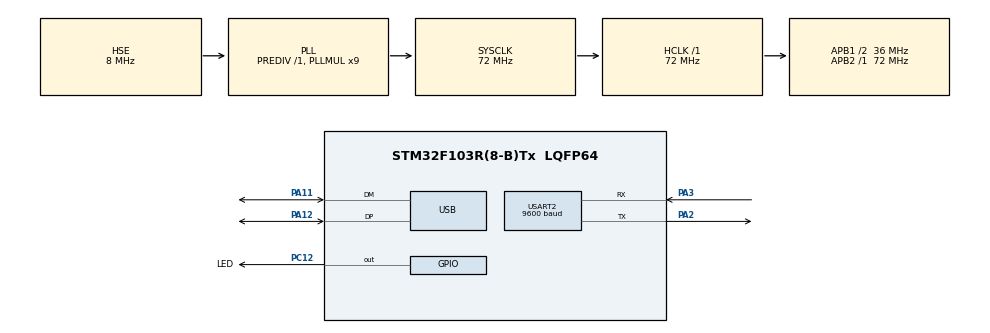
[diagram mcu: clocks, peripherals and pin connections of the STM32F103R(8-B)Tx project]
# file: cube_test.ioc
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Mcu.Family=STM32F1
Mcu.Name=STM32F103R(8-B)Tx
Mcu.Package=LQFP64
NVIC.PriorityGroup=NVIC_PRIORITYGROUP_4
NVIC.USART2_IRQn=true\:0\:0\:false\:false\:true\:true
NVIC.USB_LP_CAN1_RX0_IRQn=true\:0\:0\:false\:false\:true\:false
PA11.Mode=Device
PA11.Signal=USB_DM
PA12.Mode=Device
PA12.Signal=USB_DP
PA13.Mode=Serial_Wire
PA13.Signal=SYS_JTMS-SWDIO
PA14.Mode=Serial_Wire
PA14.Signal=SYS_JTCK-SWCLK
PA2.Mode=Asynchronous
PA2.Signal=USART2_TX
PA3.Mode=Asynchronous
PA3.Signal=USART2_RX
PC12.GPIO_Label=LED
PC12.Signal=GPIO_Output
PD0-OSC_IN.Mode=HSE-External-Oscillator
PD0-OSC_IN.Signal=RCC_OSC_IN
PD1-OSC_OUT.Mode=HSE-External-Oscillator
PD1-OSC_OUT.Signal=RCC_OSC_OUT
ProjectManager.HeapSize=0x200
ProjectManager.StackSize=0x400
ProjectManager.TargetToolchain=SW4STM32
RCC.AHBFreq_Value=72000000
RCC.APB1CLKDivider=RCC_HCLK_DIV2
RCC.APB1Freq_Value=36000000
RCC.APB1TimFreq_Value=72000000
RCC.APB2Freq_Value=72000000
RCC.APB2TimFreq_Value=72000000
RCC.HCLKFreq_Value=72000000
RCC.PLLMUL=RCC_PLL_MUL9
RCC.SYSCLKFreq_VALUE=72000000
RCC.SYSCLKSource=RCC_SYSCLKSOURCE_PLLCLK
RCC.USBFreq_Value=48000000
RCC.USBPrescaler=RCC_USBCLKSOURCE_PLL_DIV1_5
USART2.BaudRate=9600
USART2.VirtualMode=VM_ASYNC
USB_DEVICE.CLASS_NAME_FS=CDC
USB_DEVICE.VirtualMode=Cdc
USB_DEVICE.VirtualModeFS=Cdc_FS
VP_USB_DEVICE_VS_USB_DEVICE_CDC_FS.Mode=CDC_FS
board=custom

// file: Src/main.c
/**
  ******************************************************************************
  * @file           : main.c
  * @brief          : Main program body
  ******************************************************************************
  * This notice applies to any and all portions of this file
  * that are not between comment pairs USER CODE BEGIN and
  * USER CODE END. Other portions of this file, whether
  * inserted by the user or by software development tools
  * are owned by their respective copyright owners.
  *
  * Copyright (c) 2018 STMicroelectronics International N.V.
  * All rights reserved.
  *
  * Redistribution and use in source and binary forms, with or without
  * modification, are permitted, provided that the following conditions are met:
  *
  * 1. Redistribution of source code must retain the above copyright notice,
  *    this list of conditions and the following disclaimer.
  * 2. Redistributions in binary form must reproduce the above copyright notice,
  *    this list of conditions and the following disclaimer in the documentation
  *    and/or other materials provided with the distribution.
  * 3. Neither the name of STMicroelectronics nor the names of other
  *    contributors to this software may be used to endorse or promote products
  *    derived from this software without specific written permission.
  * 4. This software, including modifications and/or derivative works of this
  *    software, must execute solely and exclusively on microcontroller or
  *    microprocessor devices manufactured by or for STMicroelectronics.
  * 5. Redistribution and use of this software other than as permitted under
  *    this license is void and will automatically terminate your rights under
  *    this license.
  *
  * THIS SOFTWARE IS PROVIDED BY STMICROELECTRONICS AND CONTRIBUTORS "AS IS"
  * AND ANY EXPRESS, IMPLIED OR STATUTORY WARRANTIES, INCLUDING, BUT NOT
  * LIMITED TO, THE IMPLIED WARRANTIES OF MERCHANTABILITY, FITNESS FOR A
  * PARTICULAR PURPOSE AND NON-INFRINGEMENT OF THIRD PARTY INTELLECTUAL PROPERTY
  * RIGHTS ARE DISCLAIMED TO THE FULLEST EXTENT PERMITTED BY LAW. IN NO EVENT
  * SHALL STMICROELECTRONICS OR CONTRIBUTORS BE LIABLE FOR ANY DIRECT, INDIRECT,
  * INCIDENTAL, SPECIAL, EXEMPLARY, OR CONSEQUENTIAL DAMAGES (INCLUDING, BUT NOT
  * LIMITED TO, PROCUREMENT OF SUBSTITUTE GOODS OR SERVICES; LOSS OF USE, DATA,
  * OR PROFITS; OR BUSINESS INTERRUPTION) HOWEVER CAUSED AND ON ANY THEORY OF
  * LIABILITY, WHETHER IN CONTRACT, STRICT LIABILITY, OR TORT (INCLUDING
  * NEGLIGENCE OR OTHERWISE) ARISING IN ANY WAY OUT OF THE USE OF THIS SOFTWARE,
  * EVEN IF ADVISED OF THE POSSIBILITY OF SUCH DAMAGE.
  *
  ******************************************************************************
  */
#include "main.h"
#include "stm32f1xx_hal.h"
#include "usart.h"
#include "usb_device.h"
#include "gpio.h"

/* USER CODE BEGIN PV */
/* Private variables ---------------------------------------------------------*/

/* USER CODE END PV */

void SystemClock_Config(void);

/* USER CODE BEGIN PFP */
/* Private function prototypes -----------------------------------------------*/
/*void clear_RXBuffer(void)
{
	for (RXi=0; RXi<RX_BUF_SIZE; RXi++)
		RX_DATA[RXi] = '\0';
	RXi = 0;
}*/
/* USER CODE END PFP */

/* USER CODE BEGIN 0 */
extern void initialise_monitor_handles(void);

#define RX_BUF_SIZE 256
volatile char RX_FLAG_END_LINE = 0;
volatile char RXi;
volatile char i;
volatile char RXc;
volatile char RX_DATA[RX_BUF_SIZE] = {'\0'};

uint8_t rx_buff[128];
/* USER CODE END 0 */

int main(void)
{
  /* USER CODE BEGIN 1 */
	initialise_monitor_handles();
  /* USER CODE END 1 */

  /* MCU Configuration----------------------------------------------------------*/

  /* Reset of all peripherals, Initializes the Flash interface and the Systick. */
  HAL_Init();

  /* Configure the system clock */
  SystemClock_Config();

  /* Initialize all configured peripherals */
  MX_GPIO_Init();
  MX_USB_DEVICE_Init();
  MX_USART2_UART_Init();
  /* USER CODE BEGIN 2 */
  printf("STM32 Based GPS synchronizator\n");
  HAL_UART_Receive_IT(&huart2, rx_buff, RX_BUF_SIZE);
  /* USER CODE END 2 */

  /* Infinite loop */
  /* USER CODE BEGIN WHILE */

  while (1)
  {
	  HAL_UART_Receive_IT(&huart2, rx_buff, RX_BUF_SIZE);
	/*  for (i = 0; 64; i++)
	  {
		  printf(rx_buff[i]);
		  if (rx_buff[i]=="\n")
			  printf("\n");
		  if (i=64)
		  {
			  i = 0;
			  rx_buff[64] = 0;
		  }
	  }*/
	  /*if (USART1->SR.RXNE==1)
	  {
		  HAL_Delay(100);
		  HAL_Delay(100);
	  }*/
	  //printf("hello world!!!\n");
	  //HAL_UART_Transmit(&huart1,RX_DATA, RX_BUF_SIZE, 100);
	  if (huart2.RxXferCount==0)
	  {
		  HAL_Delay(100);
		  HAL_UART_Receive_IT(&huart2, RX_DATA, RX_BUF_SIZE);
		  printf(RX_DATA,"\n");
	  }

  /* USER CODE END WHILE */

  }

}

void SystemClock_Config(void)
{

  RCC_OscInitTypeDef RCC_OscInitStruct;
  RCC_ClkInitTypeDef RCC_ClkInitStruct;
  RCC_PeriphCLKInitTypeDef PeriphClkInit;

    /**Initializes the CPU, AHB and APB busses clocks
    */
  RCC_OscInitStruct.OscillatorType = RCC_OSCILLATORTYPE_HSE;
  RCC_OscInitStruct.HSEState = RCC_HSE_ON;
  RCC_OscInitStruct.HSEPredivValue = RCC_HSE_PREDIV_DIV1;
  RCC_OscInitStruct.HSIState = RCC_HSI_ON;
  RCC_OscInitStruct.PLL.PLLState = RCC_PLL_ON;
  RCC_OscInitStruct.PLL.PLLSource = RCC_PLLSOURCE_HSE;
  RCC_OscInitStruct.PLL.PLLMUL = RCC_PLL_MUL9;
  if (HAL_RCC_OscConfig(&RCC_OscInitStruct) != HAL_OK)
  {
    _Error_Handler(__FILE__, __LINE__);
  }

    /**Initializes the CPU, AHB and APB busses clocks
    */
  RCC_ClkInitStruct.ClockType = RCC_CLOCKTYPE_HCLK|RCC_CLOCKTYPE_SYSCLK
                              |RCC_CLOCKTYPE_PCLK1|RCC_CLOCKTYPE_PCLK2;
  RCC_ClkInitStruct.SYSCLKSource = RCC_SYSCLKSOURCE_PLLCLK;
  RCC_ClkInitStruct.AHBCLKDivider = RCC_SYSCLK_DIV1;
  RCC_ClkInitStruct.APB1CLKDivider = RCC_HCLK_DIV2;
  RCC_ClkInitStruct.APB2CLKDivider = RCC_HCLK_DIV1;

  if (HAL_RCC_ClockConfig(&RCC_ClkInitStruct, FLASH_LATENCY_2) != HAL_OK)
  {
    _Error_Handler(__FILE__, __LINE__);
  }

  PeriphClkInit.PeriphClockSelection = RCC_PERIPHCLK_USB;
  PeriphClkInit.UsbClockSelection = RCC_USBCLKSOURCE_PLL_DIV1_5;
  if (HAL_RCCEx_PeriphCLKConfig(&PeriphClkInit) != HAL_OK)
  {
    _Error_Handler(__FILE__, __LINE__);
  }

    /**Configure the Systick interrupt time
    */
  HAL_SYSTICK_Config(HAL_RCC_GetHCLKFreq()/1000);

    /**Configure the Systick
    */
  HAL_SYSTICK_CLKSourceConfig(SYSTICK_CLKSOURCE_HCLK);

  /* SysTick_IRQn interrupt configuration */
  HAL_NVIC_SetPriority(SysTick_IRQn, 0, 0);
}

/* USER CODE BEGIN 4 */
void HAL_UART_RxCpltCallback(UART_HandleTypeDef *huart)
{
	HAL_UART_DeInit(&huart2);
	for (i = 0; i == 64; i++)
		printf(rx_buff[i]);
		printf("\n\r");
	HAL_UART_Init(&huart2);
}

void HAL_UART_TxCpltCallback(UART_HandleTypeDef *huart)
{
	__NOP();
}
/* USER CODE END 4 */

void _Error_Handler(char *file, int line)
{
  while(1)
  {
  }
}

/************************ (C) COPYRIGHT STMicroelectronics *****END OF FILE****/
